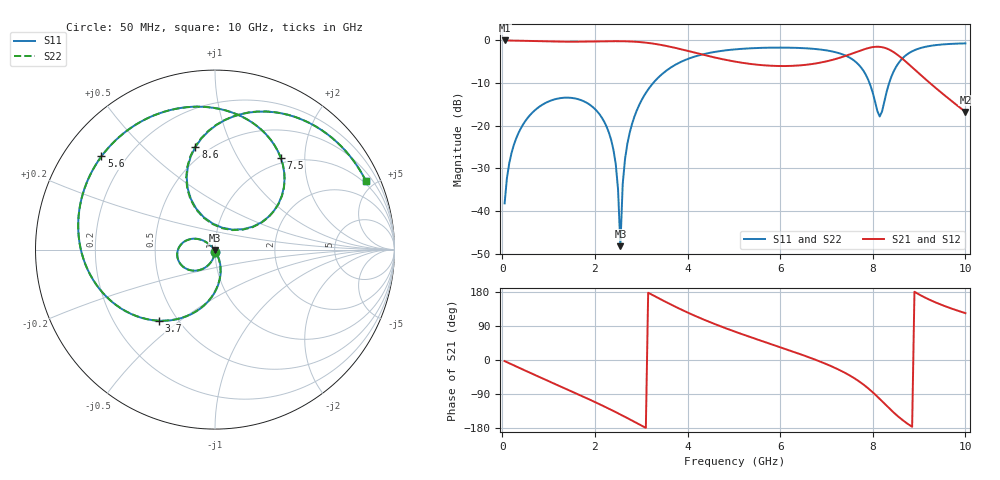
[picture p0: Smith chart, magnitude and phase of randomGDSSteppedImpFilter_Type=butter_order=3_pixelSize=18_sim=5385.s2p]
! freq	dB(S11)	phase(S11)	dB(S12)	phase(S12)
!  dB(S21)	phase(S21)	dB(S22)	phase(S22)
!S-par simulation data
#  GHz  S  DB  R 50
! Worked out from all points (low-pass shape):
!   200 points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, 50 MHz to 10 GHz, reference 50 ohm
!   highest |S21| = -0.01 dB at 50 MHz (marker M1); lowest = -16.8 dB at 10 GHz (marker M2)
!   |S21| within 3 dB of the highest: start of sweep to 4.208 GHz; 7.572 GHz to 8.487 GHz (914.8 MHz wide, 11.4 % of centre)
!   lowest |S11| = -48.2 dB at 2.55 GHz (marker M3), VSWR 1.01, Z = 49.8 - j0.308 ohm
!   |S11| at or under -10 dB: start of sweep to 3.257 GHz; 7.93 GHz to 8.353 GHz (423.7 MHz wide, 5.2 % of centre)
!   |S22| runs from -46.6 to -0.7 dB; largest |S21 - S12| = 0
!   S11 on the Smith chart (normalised r, x): 50 MHz: 1.00, -0.02; 3.7 GHz: 0.40, -0.42; 5.6 GHz: 0.11, +0.35; 7.5 GHz: 0.91, +1.54; 8.6 GHz: 0.42, +0.73; 10 GHz: 0.86, +4.46
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0.05  -38.20 -91.9  -0.01 -2.9  -0.01 -2.9  -38.20 -92.0
0.2  -26.36 -101.5  -0.03 -11.4  -0.03 -11.4  -26.36 -101.5
0.55  -18.13 -121.5  -0.11 -31.0  -0.11 -31.0  -18.13 -121.5
1.75  -14.22 172.9  -0.28 -96.8  -0.28 -96.8  -14.22 173.0
2.35  -23.29 140.1  -0.18 -131.5  -0.18 -131.5  -23.28 140.8
2.5  -34.99 138.7  -0.18 -140.7  -0.18 -140.7  -34.89 141.6
2.55  -48.23 -127.0  -0.18 -143.8  -0.18 -143.8  -46.55 -130.9
2.6  -33.70 -67.3  -0.19 -146.9  -0.19 -146.9  -33.63 -70.0
2.75  -21.68 -69.8  -0.24 -156.4  -0.24 -156.4  -21.68 -70.5
3.4  -8.38 -109.9  -1.00 161.5  -1.00 161.5  -8.38 -110.1
3.7  -5.94 -128.2  -1.66 142.8  -1.66 142.8  -5.94 -128.4
4.4  -3.09 -166.4  -3.52 104.1  -3.52 104.1  -3.09 -166.4
5.05  -2.07 163.6  -5.01 73.7  -5.01 73.7  -2.07 163.6
5.6  -1.74 140.6  -5.79 50.4  -5.79 50.4  -1.74 140.6
6.7  -1.95 95.0  -5.51 3.6  -5.51 3.6  -1.95 95.0
7.5  -4.03 54.4  -3.29 -40.6  -3.29 -40.6  -4.03 54.3
7.85  -8.05 33.5  -1.95 -69.6  -1.95 -69.6  -8.07 33.2
8.15  -17.83 72.0  -1.50 -102.7  -1.50 -102.7  -18.03 72.0
8.35  -10.10 115.5  -2.13 -126.9  -2.13 -126.9  -10.14 116.0
8.6  -4.69 100.8  -3.93 -154.3  -3.93 -154.3  -4.70 101.1
9.15  -1.46 63.9  -9.20 163.4  -9.20 163.4  -1.47 64.1
10  -0.69 24.4  -16.76 123.7  -16.76 123.7  -0.69 24.6
